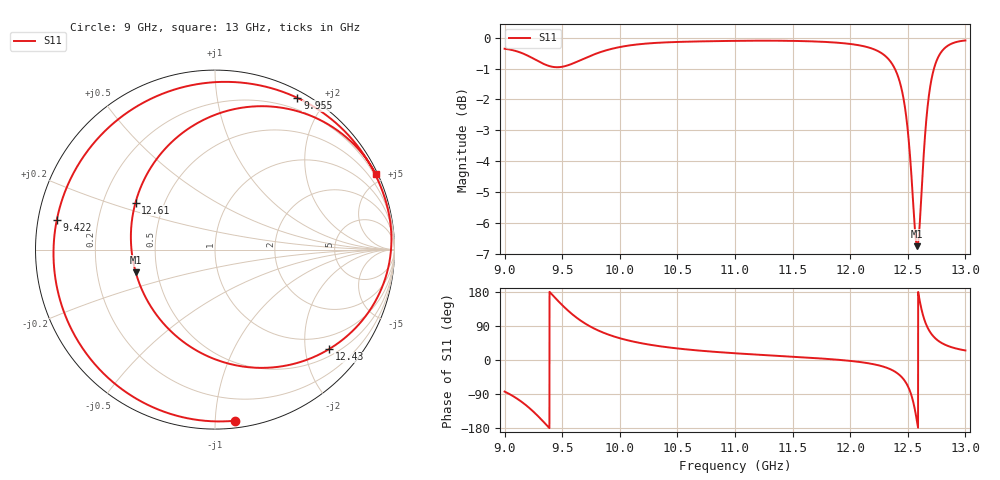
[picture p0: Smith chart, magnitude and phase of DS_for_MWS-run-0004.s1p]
! TOUCHSTONE file generated by CST DESIGN STUDIO
! Date and time: Tue Feb  4 17:33:38 2025
! Project name: C:\Work\MatlabApps\UnitCellOptimizationMatlab\CST\unitcell.cst
! Tree item: Tasks\Sweep1\SPara1\S-Parameters
! Header version: 2024
! Port assignment regex: !\s*Touchstone port\s*([0-9]+)\s*=\s*(CST MWS port|CST DES external port|CST DES block port)\s*(.+)\s* \(\"(.*)\"\)(\s*mode\s*([0-9]+))?.*
! Touchstone port assignment:
! Touchstone port 1 = CST DES external port 1 ("")
# GHz S MA R 50
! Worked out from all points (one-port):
!   4001 points, 9 GHz to 13 GHz, reference 50 ohm
!   lowest |S11| = -6.8 dB at 12.58 GHz (marker M1), VSWR 2.70, Z = 18.8 - j6.01 ohm
!   |S11| at or under -10 dB: nowhere
!   S11 on the Smith chart (normalised r, x): 9 GHz: 0.05, -1.12; 9.422 GHz: 0.05, +0.09; 9.955 GHz: 0.07, +1.68; 12.43 GHz: 0.66, -2.52; 12.61 GHz: 0.34, +0.24; 13 GHz: 0.11, +4.47
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9  0.9598 -83.3
9.116  0.9494 -103.6
9.211  0.9334 -125.7
9.326  0.9094 -159.3
9.422  0.8968 169.4
9.5  0.8974 144.8
9.586  0.9075 121.0
9.68  0.9236 99.9
9.814  0.9453 77.7
9.955  0.962 61.5
10  0.9659 57.4
10.215  0.978 42.7
10.5  0.9845 30.5
11  0.9885 17.8
11.5  0.9884 8.7
12  0.9771 -2.3
12.294  0.9378 -18.1
12.375  0.8999 -28.3
12.434  0.8432 -41.1
12.5  0.7073 -68.7
12.542  0.5576 -104.4
12.581  0.4595 -164.1
12.608  0.5147 149.4
12.648  0.6878 102.8
12.693  0.83 74.1
12.744  0.9116 55.8
12.805  0.9556 43.0
13  0.99 25.2
